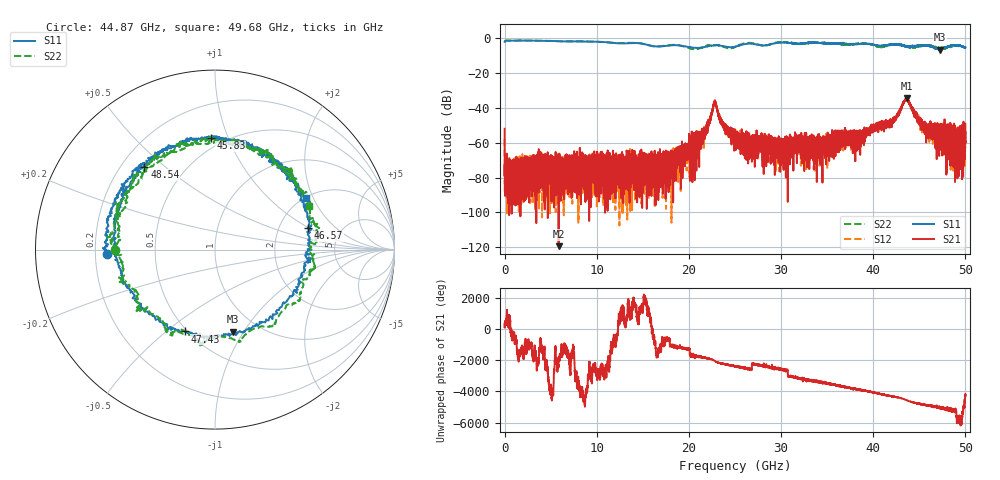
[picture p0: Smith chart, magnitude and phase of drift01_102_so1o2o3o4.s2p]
!Created with skrf (http://scikit-rf.org).
# Hz S RI R 50.0
!freq ReS11 ImS11 ReS21 ImS21 ReS12 ImS12 ReS22 ImS22
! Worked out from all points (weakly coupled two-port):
!   10001 points, 300 kHz to 50 GHz, reference 50 ohm
!   highest |S21| = -34.63 dB at 43.65 GHz (marker M1); lowest = -119.3 dB at 5.86 GHz (marker M2)
!   lowest |S11| = -6.6 dB at 47.21 GHz (marker M3), VSWR 2.76, Z = 38.4 - j44.9 ohm
!   |S11| at or under -10 dB: nowhere
!   |S22| runs from -6.4 to -1.4 dB; largest |S21 - S12| = 0.0036
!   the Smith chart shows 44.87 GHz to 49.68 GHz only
!   S11 on the Smith chart (normalised r, x): 44.87 GHz: 0.25, -0.02; 45.83 GHz: 0.43, +0.86; 46.57 GHz: 2.93, +0.97; 47.43 GHz: 0.49, -0.58; 48.54 GHz: 0.29, +0.43; 49.68 GHz: 2.04, +1.77
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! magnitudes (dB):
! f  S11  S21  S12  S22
! 300 kHz  -2.1  -51.9  -57.8  -2.1
! 280.3 MHz  -1.4  -79.4  -82.6  -1.4
! 5.86 GHz  -1.8  -119.3  -80.0  -1.8
! 8.335 GHz  -1.9  -75.1  -81.6  -1.8
! 16.67 GHz  -4.8  -70.9  -73.1  -4.8
! 20.63 GHz  -5.6  -81.2  -61.2  -6.3
! 21.88 GHz  -5.0  -52.1  -52.6  -4.5
! 22.8 GHz  -4.3  -36.5  -36.0  -4.0
! 23.79 GHz  -4.7  -49.3  -51.5  -5.0
! 25 GHz  -5.0  -57.4  -59.2  -5.1
! 29.54 GHz  -2.8  -60.7  -60.6  -2.6
! 33.34 GHz  -2.6  -60.3  -60.2  -2.7
! 41.67 GHz  -3.9  -49.1  -49.1  -4.0
! 43.65 GHz  -4.8  -34.6  -34.9  -4.9
! 44.87 GHz  -4.4  -48.6  -46.1  -5.1
! 45.83 GHz  -4.1  -52.2  -50.8  -4.6
! 46.57 GHz  -5.4  -53.0  -55.2  -4.7
! 47.21 GHz  -6.6  -55.7  -58.1  -5.8
! 47.43 GHz  -6.3  -51.9  -55.4  -5.5
! 48.54 GHz  -4.4  -59.7  -68.5  -4.6
! 49.68 GHz  -4.7  -57.4  -59.4  -4.8
! 50 GHz  -5.5  -49.2  -56.5  -5.3
